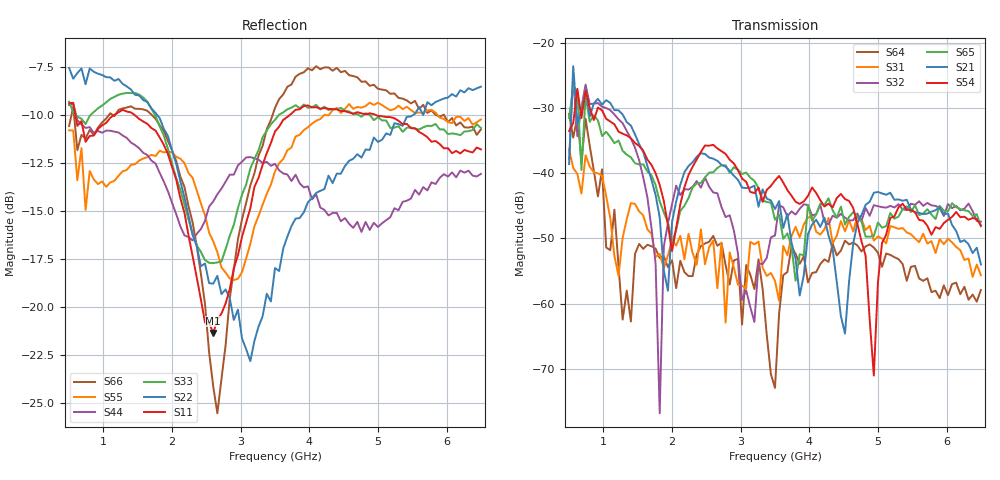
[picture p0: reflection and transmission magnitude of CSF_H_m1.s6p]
!Keysight Technologies,M9804A,MY58100912,A.14.10.03
!Date: Thursday, April 27, 2023 10:28:33
!Correction: S11(C  6-Port  )
!S12(C  6-Port  )
!S13(C  6-Port  )
!S14(C  6-Port  )
!S15(C  6-Port  )
!S16(C  6-Port  )
!S21(C  6-Port  )
!S22(C  6-Port  )
!S23(C  6-Port  )
!S24(C  6-Port  )
!S25(C  6-Port  )
!S26(C  6-Port  )
!S31(C  6-Port  )
!S32(C  6-Port  )
!S33(C  6-Port  )
!S34(C  6-Port  )
!S35(C  6-Port  )
!S36(C  6-Port  )
!S41(C  6-Port  )
!S42(C  6-Port  )
!S43(C  6-Port  )
!S44(C  6-Port  )
!S45(C  6-Port  )
!S46(C  6-Port  )
!S51(C  6-Port  )
!S52(C  6-Port  )
!S53(C  6-Port  )
!S54(C  6-Port  )
!S55(C  6-Port  )
!S56(C  6-Port  )
!S61(C  6-Port  )
!S62(C  6-Port  )
!S63(C  6-Port  )
!S64(C  6-Port  )
!S65(C  6-Port  )
!S66(C  6-Port  )
!S6P File: Measurement: :
# Hz S  RI  R 50
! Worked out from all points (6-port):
!   101 points, 500 MHz to 6.5 GHz, reference 50 ohm
!   strongest paths, dB at 500 MHz, 2 GHz, 3.5 GHz, 5 GHz, 6.5 GHz:
!     S54: -33.5, -51.9, -41.1, -56.7, -48.0
!     S21: -38.6, -47.5, -45.5, -42.9, -54.0
!     S65: -31.5, -50.6, -47.1, -47.5, -48.1
!     S32: -37.8, -44.7, -49.5, -45.0, -47.4
!     S31: -36.3, -50.3, -56.5, -49.7, -55.6
!     S64: -30.9, -53.3, -73.0, -52.2, -57.9
!   lowest |S11| = -21.4 dB at 2.6 GHz (marker M1), VSWR 1.19, Z = 42.4 + j2.26 ohm
!   |S11| at or under -10 dB: 592.8 MHz to 1.149 GHz (555.9 MHz wide, 63.8 % of centre); 1.462 GHz to 3.708 GHz (2.246 GHz wide, 86.9 % of centre); 4.984 GHz to end of sweep
